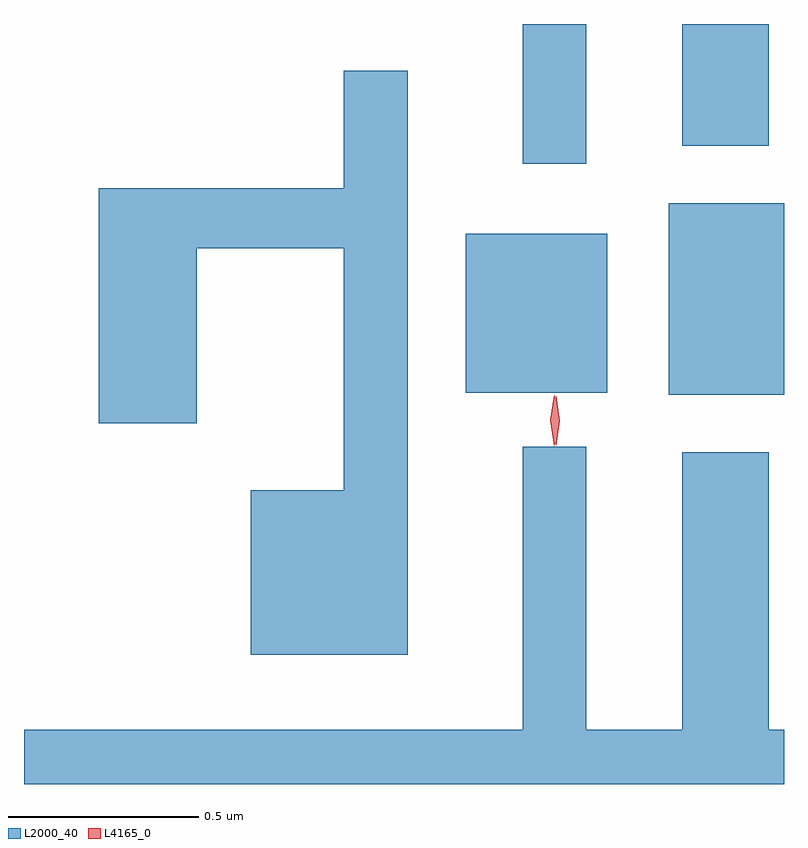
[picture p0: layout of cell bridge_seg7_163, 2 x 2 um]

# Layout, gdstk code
import gdstk
lib = gdstk.Library(unit=1e-6, precision=1e-09)
def R(c, l, rs):  # rectangles x0, y0, x1, y1
    for r in rs: c.add(gdstk.rectangle(r[:2], r[2:], *l))
def P(c, l, *ps):  # polygons
    for p in ps: c.add(gdstk.Polygon(p, *l))
L2000_40 = (2000, 40)
L4165_0 = (4165, 0)

bridge_seg7_163 = lib.new_cell('bridge_seg7_163')
R(bridge_seg7_163, L2000_40, [(1630.906,1733.226,1631.209,1733.729), (1630.371,1733.231,1630.744,1733.649), (1630.521,1733.833,1630.689,1734.201), (1630.941,1733.881,1631.169,1734.201)])
P(bridge_seg7_163, L2000_40, [(1630.219,1734.078),(1630.051,1734.078),(1630.051,1733.769),(1629.406,1733.769),(1629.406,1733.151),(1629.664,1733.151),(1629.664,1733.611),(1630.051,1733.611),(1630.051,1732.974),(1629.806,1732.974),(1629.806,1732.541),(1630.219,1732.541)],
  [(1631.209,1732.344),(1631.169,1732.344),(1631.169,1733.074),(1630.941,1733.074),(1630.941,1732.344),(1630.689,1732.344),(1630.689,1733.088),(1630.521,1733.088),(1630.521,1732.344),(1629.209,1732.344),(1629.209,1732.201),(1631.209,1732.201)])
P(bridge_seg7_163, L4165_0, [(1630.604,1733.09),(1630.604,1733.09),(1630.594,1733.158),(1630.604,1733.226),(1630.604,1733.226),(1630.605,1733.226),(1630.614,1733.158),(1630.605,1733.09)],
  [(1630.608,1733.093),(1630.599,1733.157),(1630.608,1733.222),(1630.609,1733.222),(1630.609,1733.222),(1630.619,1733.157),(1630.609,1733.093),(1630.609,1733.093)])

lib.write_gds('bridge_seg7_163.gds')
